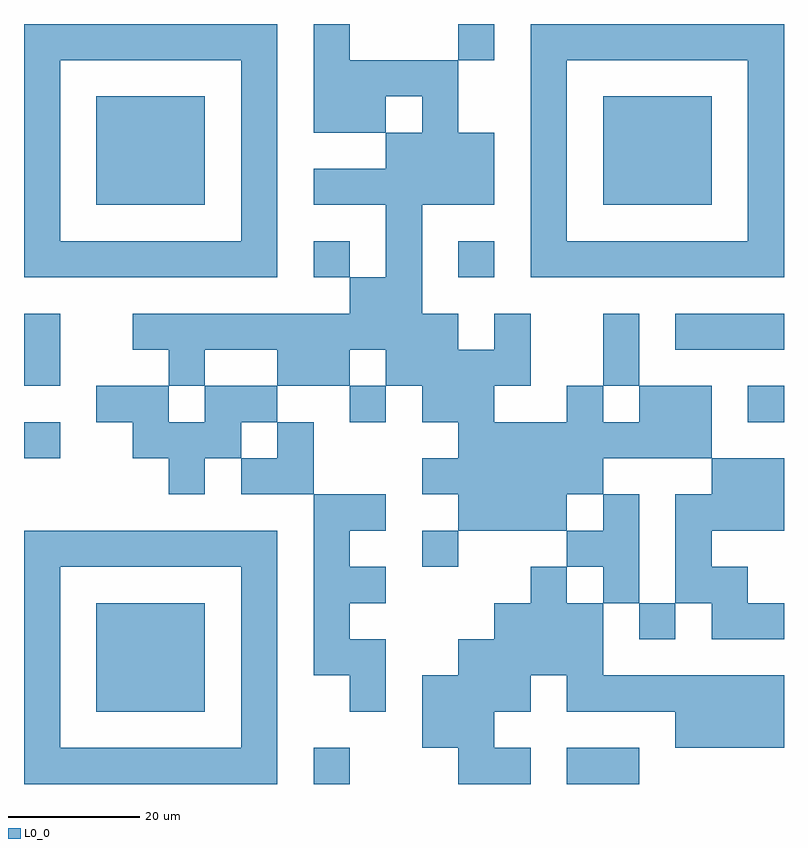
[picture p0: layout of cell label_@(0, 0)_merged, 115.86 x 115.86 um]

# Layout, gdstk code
import gdstk
lib = gdstk.Library(unit=1e-6, precision=1e-09)
def R(c, l, rs):  # rectangles x0, y0, x1, y1
    for r in rs: c.add(gdstk.rectangle(r[:2], r[2:], *l))
def P(c, l, *ps):  # polygons
    for p in ps: c.add(gdstk.Polygon(p, *l))
L0_0 = (0, 0)

label___0__0__merged = lib.new_cell('label_@(0, 0)_merged')
R(label___0__0__merged, L0_0, [(-13.793,-57.931,-8.276,-52.414), (24.828,-57.931,35.862,-52.414), (-46.897,-46.897,-30.345,-30.345), (35.862,-35.862,41.379,-30.345), (2.759,-24.828,8.276,-19.31), (-57.931,-8.276,-52.414,-2.759), (-8.276,-2.759,-2.759,2.759), (52.414,-2.759,57.931,2.759), (-57.931,2.759,-52.414,13.793), (30.345,2.759,35.862,13.793), (41.379,8.276,57.931,13.793), (-13.793,19.31,-8.276,24.828), (8.276,19.31,13.793,24.828), (-46.897,30.345,-30.345,46.897), (30.345,30.345,46.897,46.897), (8.276,52.414,13.793,57.931)])
P(label___0__0__merged, L0_0, [(-2.759,41.379),(-2.759,46.897),(2.759,46.897),(2.759,41.379),(-2.759,41.379),(-2.759,35.862),(-13.793,35.862),(-13.793,30.345),(-2.759,30.345),(-2.759,19.31),(-8.276,19.31),(-8.276,13.793),(-41.379,13.793),(-41.379,8.276),(-35.862,8.276),(-35.862,2.759),(-30.345,2.759),(-30.345,8.276),(-19.31,8.276),(-19.31,2.759),(-8.276,2.759),(-8.276,8.276),(-2.759,8.276),(-2.759,2.759),(2.759,2.759),(2.759,-2.759),(8.276,-2.759),(8.276,-8.276),(2.759,-8.276),(2.759,-13.793),(8.276,-13.793),(8.276,-19.31),(24.828,-19.31),(24.828,-13.793),(30.345,-13.793),(30.345,-8.276),(46.897,-8.276),(46.897,2.759),(35.862,2.759),(35.862,-2.759),(30.345,-2.759),(30.345,2.759),(24.828,2.759),(24.828,-2.759),(13.793,-2.759),(13.793,2.759),(19.31,2.759),(19.31,13.793),(13.793,13.793),(13.793,8.276),(8.276,8.276),(8.276,13.793),(2.759,13.793),(2.759,30.345),(13.793,30.345),(13.793,41.379),(8.276,41.379),(8.276,52.414),(-8.276,52.414),(-8.276,57.931),(-13.793,57.931),(-13.793,41.379)],
  [(-41.379,-2.759),(-41.379,-8.276),(-35.862,-8.276),(-35.862,-13.793),(-30.345,-13.793),(-30.345,-8.276),(-24.828,-8.276),(-24.828,-2.759),(-19.31,-2.759),(-19.31,2.759),(-30.345,2.759),(-30.345,-2.759),(-35.862,-2.759),(-35.862,2.759),(-46.897,2.759),(-46.897,-2.759)],
  [(-24.828,-8.276),(-24.828,-13.793),(-13.793,-13.793),(-13.793,-2.759),(-19.31,-2.759),(-19.31,-8.276)],
  [(41.379,-13.793),(41.379,-30.345),(46.897,-30.345),(46.897,-35.862),(57.931,-35.862),(57.931,-30.345),(52.414,-30.345),(52.414,-24.828),(46.897,-24.828),(46.897,-19.31),(57.931,-19.31),(57.931,-8.276),(46.897,-8.276),(46.897,-13.793)],
  [(-8.276,-41.379),(-8.276,-46.897),(-2.759,-46.897),(-2.759,-35.862),(-8.276,-35.862),(-8.276,-30.345),(-2.759,-30.345),(-2.759,-24.828),(-8.276,-24.828),(-8.276,-19.31),(-2.759,-19.31),(-2.759,-13.793),(-13.793,-13.793),(-13.793,-41.379)],
  [(24.828,-19.31),(24.828,-24.828),(30.345,-24.828),(30.345,-30.345),(35.862,-30.345),(35.862,-13.793),(30.345,-13.793),(30.345,-19.31)],
  [(13.793,-30.345),(13.793,-35.862),(8.276,-35.862),(8.276,-41.379),(2.759,-41.379),(2.759,-52.414),(8.276,-52.414),(8.276,-57.931),(19.31,-57.931),(19.31,-52.414),(13.793,-52.414),(13.793,-46.897),(19.31,-46.897),(19.31,-41.379),(24.828,-41.379),(24.828,-46.897),(41.379,-46.897),(41.379,-52.414),(57.931,-52.414),(57.931,-41.379),(30.345,-41.379),(30.345,-30.345),(24.828,-30.345),(24.828,-24.828),(19.31,-24.828),(19.31,-30.345)],
  [(-19.31,19.31),(-19.31,57.931),(-57.931,57.931),(-57.931,24.828),(-52.414,24.828),(-52.414,52.414),(-24.828,52.414),(-24.828,24.828),(-52.414,24.828),(-57.931,24.828),(-57.931,19.31)],
  [(57.931,19.31),(57.931,57.931),(19.31,57.931),(19.31,24.828),(24.828,24.828),(24.828,52.414),(52.414,52.414),(52.414,24.828),(24.828,24.828),(19.31,24.828),(19.31,19.31)],
  [(-19.31,-57.931),(-19.31,-19.31),(-57.931,-19.31),(-57.931,-52.414),(-52.414,-52.414),(-52.414,-24.828),(-24.828,-24.828),(-24.828,-52.414),(-52.414,-52.414),(-57.931,-52.414),(-57.931,-57.931)])

lib.write_gds('label___0__0__merged.gds')
